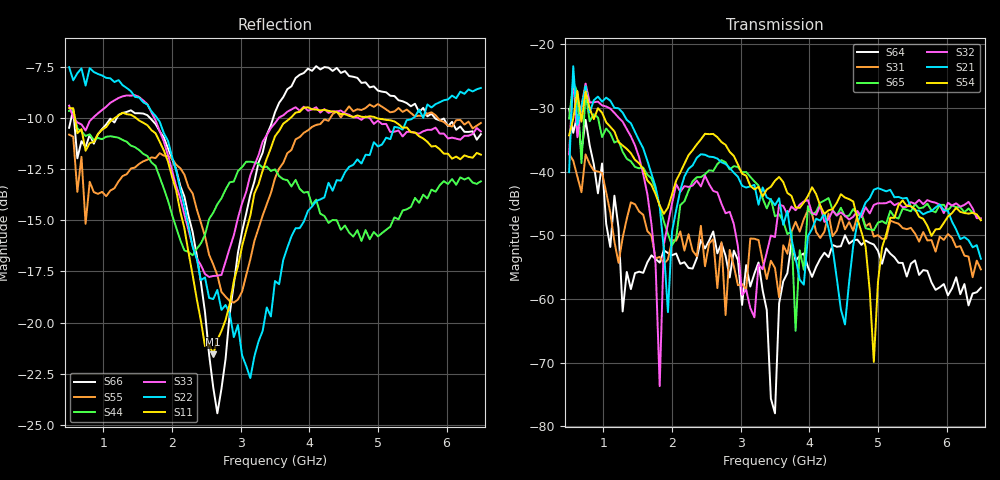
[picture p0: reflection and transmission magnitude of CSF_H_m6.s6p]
!Keysight Technologies,M9804A,MY58100912,A.14.10.03
!Date: Thursday, April 27, 2023 10:28:33
!Correction: S11(C  6-Port  )
!S12(C  6-Port  )
!S13(C  6-Port  )
!S14(C  6-Port  )
!S15(C  6-Port  )
!S16(C  6-Port  )
!S21(C  6-Port  )
!S22(C  6-Port  )
!S23(C  6-Port  )
!S24(C  6-Port  )
!S25(C  6-Port  )
!S26(C  6-Port  )
!S31(C  6-Port  )
!S32(C  6-Port  )
!S33(C  6-Port  )
!S34(C  6-Port  )
!S35(C  6-Port  )
!S36(C  6-Port  )
!S41(C  6-Port  )
!S42(C  6-Port  )
!S43(C  6-Port  )
!S44(C  6-Port  )
!S45(C  6-Port  )
!S46(C  6-Port  )
!S51(C  6-Port  )
!S52(C  6-Port  )
!S53(C  6-Port  )
!S54(C  6-Port  )
!S55(C  6-Port  )
!S56(C  6-Port  )
!S61(C  6-Port  )
!S62(C  6-Port  )
!S63(C  6-Port  )
!S64(C  6-Port  )
!S65(C  6-Port  )
!S66(C  6-Port  )
!S6P File: Measurement: :
# Hz S  RI  R 50
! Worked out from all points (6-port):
!   101 points, 500 MHz to 6.5 GHz, reference 50 ohm
!   strongest paths, dB at 500 MHz, 2 GHz, 3.5 GHz, 5 GHz, 6.5 GHz:
!     S54: -34.3, -43.6, -41.4, -57.4, -47.6
!     S21: -40.1, -49.4, -45.3, -42.6, -53.7
!     S32: -37.3, -45.0, -50.3, -45.0, -47.3
!     S65: -31.7, -51.6, -47.0, -48.0, -47.6
!     S31: -37.2, -50.8, -55.1, -50.0, -55.3
!     S64: -30.2, -53.1, -77.9, -52.4, -58.2
!   lowest |S11| = -21.6 dB at 2.6 GHz (marker M1), VSWR 1.18, Z = 42.5 + j1.94 ohm
!   |S11| at or under -10 dB: 584.1 MHz to 1.162 GHz (577.5 MHz wide, 66.2 % of centre); 1.479 GHz to 3.721 GHz (2.241 GHz wide, 86.2 % of centre); 4.988 GHz to end of sweep
